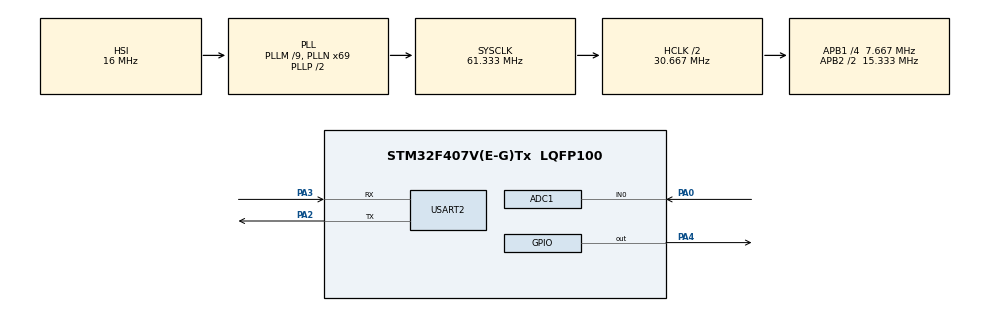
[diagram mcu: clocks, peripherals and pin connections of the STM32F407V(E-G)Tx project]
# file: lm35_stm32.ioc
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ADC1.Channel-0\#ChannelRegularConversion=ADC_CHANNEL_0
ADC1.NbrOfConversionFlag=1
ADC1.Rank-0\#ChannelRegularConversion=1
ADC1.SamplingTime-0\#ChannelRegularConversion=ADC_SAMPLETIME_3CYCLES
ADC1.master=1
Mcu.Family=STM32F4
Mcu.Name=STM32F407V(E-G)Tx
Mcu.Package=LQFP100
NVIC.PriorityGroup=NVIC_PRIORITYGROUP_0
PA0-WKUP.Signal=ADCx_IN0
PA2.Mode=Asynchronous
PA2.Signal=USART2_TX
PA3.Mode=Asynchronous
PA3.Signal=USART2_RX
PA4.Signal=GPIO_Output
PH0-OSC_IN.Mode=HSE-External-Oscillator
PH0-OSC_IN.Signal=RCC_OSC_IN
PH1-OSC_OUT.Mode=HSE-External-Oscillator
PH1-OSC_OUT.Signal=RCC_OSC_OUT
ProjectManager.HeapSize=0x200
ProjectManager.StackSize=0x400
ProjectManager.TargetToolchain=STM32CubeIDE
RCC.48MHZClocksFreq_Value=17523809.523809526
RCC.AHBCLKDivider=RCC_SYSCLK_DIV2
RCC.AHBFreq_Value=30666666.666666668
RCC.APB1CLKDivider=RCC_HCLK_DIV4
RCC.APB1Freq_Value=7666666.666666667
RCC.APB1TimFreq_Value=15333333.333333334
RCC.APB2CLKDivider=RCC_HCLK_DIV2
RCC.APB2Freq_Value=15333333.333333334
RCC.APB2TimFreq_Value=30666666.666666668
RCC.CortexFreq_Value=30666666.666666668
RCC.HCLKFreq_Value=30666666.666666668
RCC.HSE_VALUE=8000000
RCC.HSI_VALUE=16000000
RCC.LSE_VALUE=32768
RCC.PLLM=9
RCC.PLLN=69
RCC.PLLQ=7
RCC.SYSCLKFreq_VALUE=61333333.333333336
RCC.SYSCLKSource=RCC_SYSCLKSOURCE_PLLCLK
RCC.VCOOutputFreq_Value=122666666.66666667
SH.ADCx_IN0.0=ADC1_IN0,IN0
USART2.VirtualMode=VM_ASYNC
board=STM32F407G-DISC1

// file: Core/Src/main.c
/* USER CODE BEGIN Header */
/**
  ******************************************************************************
  * @file           : main.c
  * @brief          : Main program body
  ******************************************************************************
  * @attention
  *
  * Copyright (c) 2023 STMicroelectronics.
  * All rights reserved.
  *
  * This software is licensed under terms that can be found in the LICENSE file
  * in the root directory of this software component.
  * If no LICENSE file comes with this software, it is provided AS-IS.
  *
  ******************************************************************************
  */
/* USER CODE END Header */
#include "main.h"

ADC_HandleTypeDef hadc1;

UART_HandleTypeDef huart2;

void SystemClock_Config(void);
static void MX_GPIO_Init(void);
static void MX_ADC1_Init(void);
static void MX_USART2_UART_Init(void);
/* USER CODE BEGIN PFP */
void temp_conv(uint16_t temp_var);
void print_char(uint32_t num_var);
/* USER CODE END PFP */

int main(void)
{
  /* USER CODE BEGIN 1 */
uint8_t *Welcome_msg = {"LM35 temperature sensor\r\n"};
uint16_t ADC_VAL;
  /* USER CODE END 1 */

  /* MCU Configuration--------------------------------------------------------*/

  /* Reset of all peripherals, Initializes the Flash interface and the Systick. */
  HAL_Init();

  /* Configure the system clock */
  SystemClock_Config();

  /* Initialize all configured peripherals */
  MX_GPIO_Init();
  MX_ADC1_Init();
  MX_USART2_UART_Init();
  /* USER CODE BEGIN 2 */
HAL_UART_Transmit(&huart2, Welcome_msg, strlen(Welcome_msg), 40);
  /* USER CODE END 2 */

  /* Infinite loop */
  while (1)
  {
HAL_ADC_Start(&hadc1);
HAL_ADC_PollForConversion(&hadc1, 100);
ADC_Val = HAL_ADC_GetValue(&hadc1, 100);
HAL_ADC_Stop(&hadc1);
temp_conv(ADC_val);
HAL_Delay(500);
  }
}

void SystemClock_Config(void)
{
  RCC_OscInitTypeDef RCC_OscInitStruct = {0};
  RCC_ClkInitTypeDef RCC_ClkInitStruct = {0};

  /** Configure the main internal regulator output voltage
  */
  __HAL_RCC_PWR_CLK_ENABLE();
  __HAL_PWR_VOLTAGESCALING_CONFIG(PWR_REGULATOR_VOLTAGE_SCALE1);

  /** Initializes the RCC Oscillators according to the specified parameters
  * in the RCC_OscInitTypeDef structure.
  */
  RCC_OscInitStruct.OscillatorType = RCC_OSCILLATORTYPE_HSI;
  RCC_OscInitStruct.HSIState = RCC_HSI_ON;
  RCC_OscInitStruct.HSICalibrationValue = RCC_HSICALIBRATION_DEFAULT;
  RCC_OscInitStruct.PLL.PLLState = RCC_PLL_ON;
  RCC_OscInitStruct.PLL.PLLSource = RCC_PLLSOURCE_HSI;
  RCC_OscInitStruct.PLL.PLLM = 9;
  RCC_OscInitStruct.PLL.PLLN = 69;
  RCC_OscInitStruct.PLL.PLLP = RCC_PLLP_DIV2;
  RCC_OscInitStruct.PLL.PLLQ = 7;
  if (HAL_RCC_OscConfig(&RCC_OscInitStruct) != HAL_OK)
  {
    Error_Handler();
  }

  /** Initializes the CPU, AHB and APB buses clocks
  */
  RCC_ClkInitStruct.ClockType = RCC_CLOCKTYPE_HCLK|RCC_CLOCKTYPE_SYSCLK
                              |RCC_CLOCKTYPE_PCLK1|RCC_CLOCKTYPE_PCLK2;
  RCC_ClkInitStruct.SYSCLKSource = RCC_SYSCLKSOURCE_PLLCLK;
  RCC_ClkInitStruct.AHBCLKDivider = RCC_SYSCLK_DIV2;
  RCC_ClkInitStruct.APB1CLKDivider = RCC_HCLK_DIV4;
  RCC_ClkInitStruct.APB2CLKDivider = RCC_HCLK_DIV2;

  if (HAL_RCC_ClockConfig(&RCC_ClkInitStruct, FLASH_LATENCY_1) != HAL_OK)
  {
    Error_Handler();
  }
}

static void MX_ADC1_Init(void)
{

  ADC_ChannelConfTypeDef sConfig = {0};

  /** Configure the global features of the ADC (Clock, Resolution, Data Alignment and number of conversion)
  */
  hadc1.Instance = ADC1;
  hadc1.Init.ClockPrescaler = ADC_CLOCK_SYNC_PCLK_DIV2;
  hadc1.Init.Resolution = ADC_RESOLUTION_12B;
  hadc1.Init.ScanConvMode = DISABLE;
  hadc1.Init.ContinuousConvMode = DISABLE;
  hadc1.Init.DiscontinuousConvMode = DISABLE;
  hadc1.Init.ExternalTrigConvEdge = ADC_EXTERNALTRIGCONVEDGE_NONE;
  hadc1.Init.ExternalTrigConv = ADC_SOFTWARE_START;
  hadc1.Init.DataAlign = ADC_DATAALIGN_RIGHT;
  hadc1.Init.NbrOfConversion = 1;
  hadc1.Init.DMAContinuousRequests = DISABLE;
  hadc1.Init.EOCSelection = ADC_EOC_SINGLE_CONV;
  if (HAL_ADC_Init(&hadc1) != HAL_OK)
  {
    Error_Handler();
  }

  /** Configure for the selected ADC regular channel its corresponding rank in the sequencer and its sample time.
  */
  sConfig.Channel = ADC_CHANNEL_0;
  sConfig.Rank = 1;
  sConfig.SamplingTime = ADC_SAMPLETIME_3CYCLES;
  if (HAL_ADC_ConfigChannel(&hadc1, &sConfig) != HAL_OK)
  {
    Error_Handler();
  }

}

static void MX_USART2_UART_Init(void)
{

  huart2.Instance = USART2;
  huart2.Init.BaudRate = 115200;
  huart2.Init.WordLength = UART_WORDLENGTH_8B;
  huart2.Init.StopBits = UART_STOPBITS_1;
  huart2.Init.Parity = UART_PARITY_NONE;
  huart2.Init.Mode = UART_MODE_TX_RX;
  huart2.Init.HwFlowCtl = UART_HWCONTROL_NONE;
  huart2.Init.OverSampling = UART_OVERSAMPLING_16;
  if (HAL_UART_Init(&huart2) != HAL_OK)
  {
    Error_Handler();
  }

}

static void MX_GPIO_Init(void)
{
  GPIO_InitTypeDef GPIO_InitStruct = {0};

  /* GPIO Ports Clock Enable */
  __HAL_RCC_GPIOH_CLK_ENABLE();
  __HAL_RCC_GPIOA_CLK_ENABLE();

  /*Configure GPIO pin Output Level */
  HAL_GPIO_WritePin(GPIOA, GPIO_PIN_4, GPIO_PIN_RESET);

  /*Configure GPIO pin : PA4 */
  GPIO_InitStruct.Pin = GPIO_PIN_4;
  GPIO_InitStruct.Mode = GPIO_MODE_OUTPUT_PP;
  GPIO_InitStruct.Pull = GPIO_NOPULL;
  GPIO_InitStruct.Speed = GPIO_SPEED_FREQ_LOW;
  HAL_GPIO_Init(GPIOA, &GPIO_InitStruct);

}

/* USER CODE BEGIN 4 */
void temp_conv(uint16_t temp_var)
{
	uint32_t var1=0;
	var1=(temp_var*8.05);
	HAL_UART_Transmit(&huart1, "temp: ", 6, 10);
	print_char(var1);
}

void print_char(uint32_t num_var)
{
	uint8_t char_num_var[] = {"000000\r\n"};
	uint8_t i=5;
	while(num_var != 0)
	{
		char_num_var[i] = (num_var%10) + 48;
		num_var = num_var/10;
		i--;
		if(i==3)
		{
			char_num_var[i] = '.';
			i--;
		}
	}
	char_num_var[i] = (num_var%10) = 48;

	HAL_UART_Transmit(&huart1, &char_num_var[0], 8, 15);
	HAL_Delay(1);
}
/* USER CODE END 4 */

void Error_Handler(void)
{
  __disable_irq();
  while (1)
  {
  }
}
